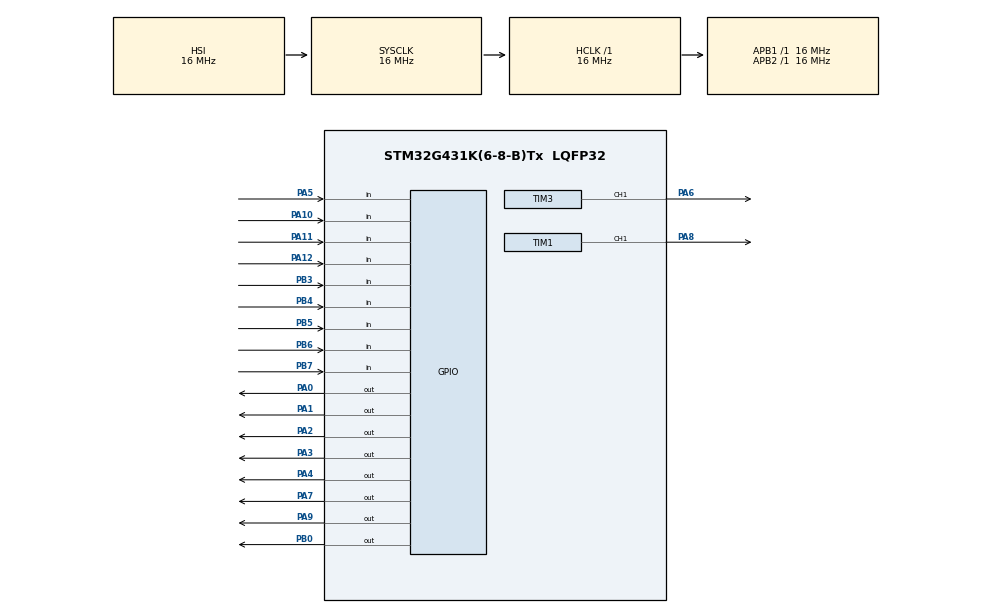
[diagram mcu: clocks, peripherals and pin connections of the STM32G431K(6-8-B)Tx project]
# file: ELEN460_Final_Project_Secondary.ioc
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Mcu.Family=STM32G4
Mcu.Name=STM32G431K(6-8-B)Tx
Mcu.Package=LQFP32
NVIC.PriorityGroup=NVIC_PRIORITYGROUP_4
PA0.GPIO_PuPd=GPIO_PULLDOWN
PA0.Signal=GPIO_Output
PA1.GPIO_PuPd=GPIO_PULLDOWN
PA1.Signal=GPIO_Output
PA10.GPIO_PuPd=GPIO_PULLDOWN
PA10.Signal=GPIO_Input
PA11.GPIO_PuPd=GPIO_NOPULL
PA11.Signal=GPIO_Input
PA12.GPIO_PuPd=GPIO_NOPULL
PA12.Signal=GPIO_Input
PA2.GPIO_PuPd=GPIO_PULLDOWN
PA2.Signal=GPIO_Output
PA3.GPIO_PuPd=GPIO_PULLDOWN
PA3.Signal=GPIO_Output
PA4.GPIO_PuPd=GPIO_PULLDOWN
PA4.Signal=GPIO_Output
PA5.GPIO_PuPd=GPIO_PULLUP
PA5.Signal=GPIO_Input
PA6.Signal=S_TIM3_CH1
PA7.GPIO_PuPd=GPIO_PULLDOWN
PA7.Signal=GPIO_Output
PA8.Signal=S_TIM1_CH1
PA9.GPIO_PuPd=GPIO_PULLDOWN
PA9.Signal=GPIO_Output
PB0.GPIO_PuPd=GPIO_PULLDOWN
PB0.Signal=GPIO_Output
PB3.GPIO_PuPd=GPIO_PULLUP
PB3.Signal=GPIO_Input
PB4.GPIO_PuPd=GPIO_NOPULL
PB4.Signal=GPIO_Input
PB5.GPIO_PuPd=GPIO_NOPULL
PB5.Signal=GPIO_Input
PB6.GPIO_PuPd=GPIO_NOPULL
PB6.Signal=GPIO_Input
PB7.GPIO_PuPd=GPIO_NOPULL
PB7.Signal=GPIO_Input
ProjectManager.HeapSize=0x200
ProjectManager.StackSize=0x400
ProjectManager.TargetToolchain=EWARM V8.32
RCC.AHBFreq_Value=16000000
RCC.APB1Freq_Value=16000000
RCC.APB1TimFreq_Value=16000000
RCC.APB2Freq_Value=16000000
RCC.APB2TimFreq_Value=16000000
RCC.CortexFreq_Value=16000000
RCC.EXTERNAL_CLOCK_VALUE=12288000
RCC.HCLKFreq_Value=16000000
RCC.HSE_VALUE=8000000
RCC.HSI48_VALUE=48000000
RCC.HSI_VALUE=16000000
RCC.LSE_VALUE=32768
RCC.SYSCLKFreq_VALUE=16000000
RCC.USBFreq_Value=64000000
RCC.VCOOutputFreq_Value=128000000
SH.S_TIM1_CH1.0=TIM1_CH1,PWM Generation1 CH1
SH.S_TIM3_CH1.0=TIM3_CH1,PWM Generation1 CH1
TIM1.Channel-PWM\ Generation1\ CH1=TIM_CHANNEL_1
TIM1.PeriodNoDither=10000
TIM3.Channel-PWM\ Generation1\ CH1=TIM_CHANNEL_1
TIM3.PeriodNoDither=10000
VP_SYS_VS_DBSignals.Mode=DisableDeadBatterySignals
board=custom

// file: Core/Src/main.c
/* USER CODE BEGIN Header */
/**
  ******************************************************************************
  * @file           : main.c
  * @brief          : Main program body
  ******************************************************************************
  * @attention
  *
  * <h2><center>&copy; Copyright (c) 2021 STMicroelectronics.
  * All rights reserved.</center></h2>
  *
  * This software component is licensed by ST under BSD 3-Clause license,
  * the "License"; You may not use this file except in compliance with the
  * License. You may obtain a copy of the License at:
  *                        opensource.org/licenses/BSD-3-Clause
  *
  ******************************************************************************
  */
/* USER CODE END Header */
#include "main.h"

/* USER CODE BEGIN Includes */
#include "KeyboardHoldRepeat.h"
/* USER CODE END Includes */

/* USER CODE BEGIN PD */
#define GOAL_1_PIN              GPIOA, GPIO_PIN_11
#define GOAL_2_PIN              GPIOA, GPIO_PIN_12
#define GOAL_3_PIN              GPIOB, GPIO_PIN_4
#define GOAL_4_PIN              GPIOB, GPIO_PIN_5
#define GOAL_5_PIN              GPIOB, GPIO_PIN_6
#define GOAL_6_PIN              GPIOB, GPIO_PIN_7

#define LED_1_PIN               GPIOA, GPIO_PIN_0
#define LED_2_PIN               GPIOA, GPIO_PIN_1
#define LED_3_PIN               GPIOA, GPIO_PIN_2
#define LED_4_PIN               GPIOA, GPIO_PIN_3
#define LED_5_PIN               GPIOA, GPIO_PIN_4
#define LED_6_PIN               GPIOA, GPIO_PIN_7

#define RESET_PIN               GPIOA, GPIO_PIN_13
#define WIN_PIN                 GPIOB, GPIO_PIN_0
#define ALL_BALLS_PIN           GPIOA, GPIO_PIN_9

#define NUMBER_OF_BALLS         8

#define MOTOR_STOP              0
#define MOTOR_RIGHT             1
#define MOTOR_LEFT              2
#define MOTOR_SPEED             5000
/* USER CODE END PD */

TIM_HandleTypeDef htim1;
TIM_HandleTypeDef htim3;

/* USER CODE BEGIN PV */
uint8_t keyCode = NO_KEY_PRESSED;
uint8_t buttonPressed = false;
uint8_t goals = 0;
uint8_t leds = 0;
uint8_t reset = 0;
uint8_t ballCount = 0;
uint8_t lastValue = 0;
uint8_t count = 0;

// Motor
uint8_t motorState = MOTOR_STOP;
uint8_t motorRightRequest = false;
uint8_t motorLeftRequest = false;
uint8_t limitSwitch = false;
/* USER CODE END PV */

void SystemClock_Config(void);
static void MX_GPIO_Init(void);
static void MX_TIM1_Init(void);
static void MX_TIM3_Init(void);
/* USER CODE BEGIN PFP */
void LED_Process(uint8_t mask);
void Motor_Set_State(uint8_t state);
void Motor_Set_AIN1(uint16_t duty);
void Motor_Set_AIN2(uint16_t duty);
/* USER CODE END PFP */

/* USER CODE BEGIN 0 */
extern uint8_t ten_mS_Flag;
extern uint8_t twentyfive_mS_Flag;
extern uint8_t hundred_mS_Flag;
extern uint8_t twohundred_fifty_mS_Flag;
extern uint8_t five_hundred_mS_Flag;
extern uint8_t one_S_Flag;
/* USER CODE END 0 */

int main(void)
{

  /* MCU Configuration--------------------------------------------------------*/

  /* Reset of all peripherals, Initializes the Flash interface and the Systick. */
  HAL_Init();

  /* Configure the system clock */
  SystemClock_Config();

  /* Initialize all configured peripherals */
  MX_GPIO_Init();
  MX_TIM1_Init();
  MX_TIM3_Init();
  /* USER CODE BEGIN 2 */
  HAL_TIM_PWM_Start_IT(&htim3, TIM_CHANNEL_1);
  HAL_TIM_PWM_Start_IT(&htim1, TIM_CHANNEL_1);
  /* USER CODE END 2 */

  /* Infinite loop */
  /* USER CODE BEGIN WHILE */
  while (1)
  {

    // 25mS Tasks
    if (twentyfive_mS_Flag) {
      twentyfive_mS_Flag = false;

      keyCode = ScanKeyboard();
      DebounceKeyCode(keyCode);

      // If we've gotten a valid debounced keyCode, process it
      if (processKeyCode == true) {
        ProcessKeyCode(keyCode);
      }

      if(motorRightRequest) {
        Motor_Set_State(MOTOR_RIGHT);
      }
      else if(motorLeftRequest) {
        Motor_Set_State(MOTOR_LEFT);
      }
      else {Motor_Set_State(MOTOR_STOP);}

    }

    reset = HAL_GPIO_ReadPin(RESET_PIN);
    if(reset) {
      leds = 0;
      goals = 0;
      lastValue = 0;
      ballCount = 0;
      HAL_GPIO_WritePin(WIN_PIN, GPIO_PIN_RESET);
      HAL_GPIO_WritePin(ALL_BALLS_PIN, GPIO_PIN_RESET);
    }
    else {
      goals = (HAL_GPIO_ReadPin(GOAL_6_PIN) << 5) | (HAL_GPIO_ReadPin(GOAL_5_PIN) << 4) | (HAL_GPIO_ReadPin(GOAL_4_PIN) << 3) | (HAL_GPIO_ReadPin(GOAL_3_PIN) << 2) | (HAL_GPIO_ReadPin(GOAL_2_PIN) << 1) | (HAL_GPIO_ReadPin(GOAL_1_PIN) << 0);
    }

    leds |= goals;
    LED_Process(leds);

    // Increment ball counter when ball passes through goal
    if(goals) {
      if(goals != lastValue) {
        ballCount++;
        lastValue = goals;
      }
    }
    if(ballCount >= NUMBER_OF_BALLS) {
      HAL_GPIO_WritePin(ALL_BALLS_PIN, GPIO_PIN_SET);
    }

    // Check if player won
    if(leds == 0x3F) {
      HAL_GPIO_WritePin(WIN_PIN, GPIO_PIN_SET);
    }

    /* USER CODE END WHILE */

  }
}

void SystemClock_Config(void)
{
  RCC_OscInitTypeDef RCC_OscInitStruct = {0};
  RCC_ClkInitTypeDef RCC_ClkInitStruct = {0};

  /** Configure the main internal regulator output voltage
  */
  HAL_PWREx_ControlVoltageScaling(PWR_REGULATOR_VOLTAGE_SCALE1);
  /** Initializes the RCC Oscillators according to the specified parameters
  * in the RCC_OscInitTypeDef structure.
  */
  RCC_OscInitStruct.OscillatorType = RCC_OSCILLATORTYPE_HSI;
  RCC_OscInitStruct.HSIState = RCC_HSI_ON;
  RCC_OscInitStruct.HSICalibrationValue = RCC_HSICALIBRATION_DEFAULT;
  RCC_OscInitStruct.PLL.PLLState = RCC_PLL_NONE;
  if (HAL_RCC_OscConfig(&RCC_OscInitStruct) != HAL_OK)
  {
    Error_Handler();
  }
  /** Initializes the CPU, AHB and APB buses clocks
  */
  RCC_ClkInitStruct.ClockType = RCC_CLOCKTYPE_HCLK|RCC_CLOCKTYPE_SYSCLK
                              |RCC_CLOCKTYPE_PCLK1|RCC_CLOCKTYPE_PCLK2;
  RCC_ClkInitStruct.SYSCLKSource = RCC_SYSCLKSOURCE_HSI;
  RCC_ClkInitStruct.AHBCLKDivider = RCC_SYSCLK_DIV1;
  RCC_ClkInitStruct.APB1CLKDivider = RCC_HCLK_DIV1;
  RCC_ClkInitStruct.APB2CLKDivider = RCC_HCLK_DIV1;

  if (HAL_RCC_ClockConfig(&RCC_ClkInitStruct, FLASH_LATENCY_0) != HAL_OK)
  {
    Error_Handler();
  }
}

static void MX_TIM1_Init(void)
{

  TIM_MasterConfigTypeDef sMasterConfig = {0};
  TIM_OC_InitTypeDef sConfigOC = {0};
  TIM_BreakDeadTimeConfigTypeDef sBreakDeadTimeConfig = {0};

  htim1.Instance = TIM1;
  htim1.Init.Prescaler = 0;
  htim1.Init.CounterMode = TIM_COUNTERMODE_UP;
  htim1.Init.Period = 10000;
  htim1.Init.ClockDivision = TIM_CLOCKDIVISION_DIV1;
  htim1.Init.RepetitionCounter = 0;
  htim1.Init.AutoReloadPreload = TIM_AUTORELOAD_PRELOAD_DISABLE;
  if (HAL_TIM_PWM_Init(&htim1) != HAL_OK)
  {
    Error_Handler();
  }
  sMasterConfig.MasterOutputTrigger = TIM_TRGO_RESET;
  sMasterConfig.MasterOutputTrigger2 = TIM_TRGO2_RESET;
  sMasterConfig.MasterSlaveMode = TIM_MASTERSLAVEMODE_DISABLE;
  if (HAL_TIMEx_MasterConfigSynchronization(&htim1, &sMasterConfig) != HAL_OK)
  {
    Error_Handler();
  }
  sConfigOC.OCMode = TIM_OCMODE_PWM1;
  sConfigOC.Pulse = 0;
  sConfigOC.OCPolarity = TIM_OCPOLARITY_HIGH;
  sConfigOC.OCNPolarity = TIM_OCNPOLARITY_HIGH;
  sConfigOC.OCFastMode = TIM_OCFAST_DISABLE;
  sConfigOC.OCIdleState = TIM_OCIDLESTATE_RESET;
  sConfigOC.OCNIdleState = TIM_OCNIDLESTATE_RESET;
  if (HAL_TIM_PWM_ConfigChannel(&htim1, &sConfigOC, TIM_CHANNEL_1) != HAL_OK)
  {
    Error_Handler();
  }
  sBreakDeadTimeConfig.OffStateRunMode = TIM_OSSR_DISABLE;
  sBreakDeadTimeConfig.OffStateIDLEMode = TIM_OSSI_DISABLE;
  sBreakDeadTimeConfig.LockLevel = TIM_LOCKLEVEL_OFF;
  sBreakDeadTimeConfig.DeadTime = 0;
  sBreakDeadTimeConfig.BreakState = TIM_BREAK_DISABLE;
  sBreakDeadTimeConfig.BreakPolarity = TIM_BREAKPOLARITY_HIGH;
  sBreakDeadTimeConfig.BreakFilter = 0;
  sBreakDeadTimeConfig.BreakAFMode = TIM_BREAK_AFMODE_INPUT;
  sBreakDeadTimeConfig.Break2State = TIM_BREAK2_DISABLE;
  sBreakDeadTimeConfig.Break2Polarity = TIM_BREAK2POLARITY_HIGH;
  sBreakDeadTimeConfig.Break2Filter = 0;
  sBreakDeadTimeConfig.Break2AFMode = TIM_BREAK_AFMODE_INPUT;
  sBreakDeadTimeConfig.AutomaticOutput = TIM_AUTOMATICOUTPUT_DISABLE;
  if (HAL_TIMEx_ConfigBreakDeadTime(&htim1, &sBreakDeadTimeConfig) != HAL_OK)
  {
    Error_Handler();
  }
  HAL_TIM_MspPostInit(&htim1);

}

static void MX_TIM3_Init(void)
{

  TIM_MasterConfigTypeDef sMasterConfig = {0};
  TIM_OC_InitTypeDef sConfigOC = {0};

  htim3.Instance = TIM3;
  htim3.Init.Prescaler = 0;
  htim3.Init.CounterMode = TIM_COUNTERMODE_UP;
  htim3.Init.Period = 10000;
  htim3.Init.ClockDivision = TIM_CLOCKDIVISION_DIV1;
  htim3.Init.AutoReloadPreload = TIM_AUTORELOAD_PRELOAD_DISABLE;
  if (HAL_TIM_PWM_Init(&htim3) != HAL_OK)
  {
    Error_Handler();
  }
  sMasterConfig.MasterOutputTrigger = TIM_TRGO_RESET;
  sMasterConfig.MasterSlaveMode = TIM_MASTERSLAVEMODE_DISABLE;
  if (HAL_TIMEx_MasterConfigSynchronization(&htim3, &sMasterConfig) != HAL_OK)
  {
    Error_Handler();
  }
  sConfigOC.OCMode = TIM_OCMODE_PWM1;
  sConfigOC.Pulse = 0;
  sConfigOC.OCPolarity = TIM_OCPOLARITY_HIGH;
  sConfigOC.OCFastMode = TIM_OCFAST_DISABLE;
  if (HAL_TIM_PWM_ConfigChannel(&htim3, &sConfigOC, TIM_CHANNEL_1) != HAL_OK)
  {
    Error_Handler();
  }
  HAL_TIM_MspPostInit(&htim3);

}

static void MX_GPIO_Init(void)
{
  GPIO_InitTypeDef GPIO_InitStruct = {0};

  /* GPIO Ports Clock Enable */
  __HAL_RCC_GPIOA_CLK_ENABLE();
  __HAL_RCC_GPIOB_CLK_ENABLE();

  /*Configure GPIO pin Output Level */
  HAL_GPIO_WritePin(GPIOA, GPIO_PIN_0|GPIO_PIN_1|GPIO_PIN_2|GPIO_PIN_3
                          |GPIO_PIN_4|GPIO_PIN_7|GPIO_PIN_9, GPIO_PIN_RESET);

  /*Configure GPIO pin Output Level */
  HAL_GPIO_WritePin(GPIOB, GPIO_PIN_0, GPIO_PIN_RESET);

  /*Configure GPIO pins : PA0 PA1 PA2 PA3
                           PA4 PA7 PA9 */
  GPIO_InitStruct.Pin = GPIO_PIN_0|GPIO_PIN_1|GPIO_PIN_2|GPIO_PIN_3
                          |GPIO_PIN_4|GPIO_PIN_7|GPIO_PIN_9;
  GPIO_InitStruct.Mode = GPIO_MODE_OUTPUT_PP;
  GPIO_InitStruct.Pull = GPIO_PULLDOWN;
  GPIO_InitStruct.Speed = GPIO_SPEED_FREQ_LOW;
  HAL_GPIO_Init(GPIOA, &GPIO_InitStruct);

  /*Configure GPIO pin : PA5 */
  GPIO_InitStruct.Pin = GPIO_PIN_5;
  GPIO_InitStruct.Mode = GPIO_MODE_INPUT;
  GPIO_InitStruct.Pull = GPIO_PULLUP;
  HAL_GPIO_Init(GPIOA, &GPIO_InitStruct);

  /*Configure GPIO pin : PB0 */
  GPIO_InitStruct.Pin = GPIO_PIN_0;
  GPIO_InitStruct.Mode = GPIO_MODE_OUTPUT_PP;
  GPIO_InitStruct.Pull = GPIO_PULLDOWN;
  GPIO_InitStruct.Speed = GPIO_SPEED_FREQ_LOW;
  HAL_GPIO_Init(GPIOB, &GPIO_InitStruct);

  /*Configure GPIO pin : PA10 */
  GPIO_InitStruct.Pin = GPIO_PIN_10;
  GPIO_InitStruct.Mode = GPIO_MODE_INPUT;
  GPIO_InitStruct.Pull = GPIO_PULLDOWN;
  HAL_GPIO_Init(GPIOA, &GPIO_InitStruct);

  /*Configure GPIO pins : PA11 PA12 */
  GPIO_InitStruct.Pin = GPIO_PIN_11|GPIO_PIN_12;
  GPIO_InitStruct.Mode = GPIO_MODE_INPUT;
  GPIO_InitStruct.Pull = GPIO_NOPULL;
  HAL_GPIO_Init(GPIOA, &GPIO_InitStruct);

  /*Configure GPIO pin : PB3 */
  GPIO_InitStruct.Pin = GPIO_PIN_3;
  GPIO_InitStruct.Mode = GPIO_MODE_INPUT;
  GPIO_InitStruct.Pull = GPIO_PULLUP;
  HAL_GPIO_Init(GPIOB, &GPIO_InitStruct);

  /*Configure GPIO pins : PB4 PB5 PB6 PB7 */
  GPIO_InitStruct.Pin = GPIO_PIN_4|GPIO_PIN_5|GPIO_PIN_6|GPIO_PIN_7;
  GPIO_InitStruct.Mode = GPIO_MODE_INPUT;
  GPIO_InitStruct.Pull = GPIO_NOPULL;
  HAL_GPIO_Init(GPIOB, &GPIO_InitStruct);

}

/* USER CODE BEGIN 4 */
void LED_Process(uint8_t mask) {

  // Goal LED 1
  if((mask >> 0) & 0x1) {HAL_GPIO_WritePin(LED_1_PIN, GPIO_PIN_SET);}
  else {HAL_GPIO_WritePin(LED_1_PIN, GPIO_PIN_RESET);}

  // Goal LED 2
  if((mask >> 1) & 0x1) {HAL_GPIO_WritePin(LED_2_PIN, GPIO_PIN_SET);}
  else {HAL_GPIO_WritePin(LED_2_PIN, GPIO_PIN_RESET);}

  // Goal LED 3
  if((mask >> 2) & 0x1) {HAL_GPIO_WritePin(LED_3_PIN, GPIO_PIN_SET);}
  else {HAL_GPIO_WritePin(LED_3_PIN, GPIO_PIN_RESET);}

  // Goal LED 4
  if((mask >> 3) & 0x1) {HAL_GPIO_WritePin(LED_4_PIN, GPIO_PIN_SET);}
  else {HAL_GPIO_WritePin(LED_4_PIN, GPIO_PIN_RESET);}

  // Goal LED 5
  if((mask >> 4) & 0x1) {HAL_GPIO_WritePin(LED_5_PIN, GPIO_PIN_SET);}
  else {HAL_GPIO_WritePin(LED_5_PIN, GPIO_PIN_RESET);}

  // Goal LED 6
  if((mask >> 5) & 0x1) {HAL_GPIO_WritePin(LED_6_PIN, GPIO_PIN_SET);}
  else {HAL_GPIO_WritePin(LED_6_PIN, GPIO_PIN_RESET);}
}

void Motor_Set_State(uint8_t state) {

  switch(state){
  case MOTOR_STOP:
    // Set AIN1 and AIN2 to full duty to brake the motor
    Motor_Set_AIN1(0);
    Motor_Set_AIN2(0);
    break;
  case MOTOR_RIGHT:
    Motor_Set_AIN1(MOTOR_SPEED);
    Motor_Set_AIN2(0);
    break;
  case MOTOR_LEFT:
    Motor_Set_AIN1(0);
    Motor_Set_AIN2(MOTOR_SPEED);
    break;
  }
}

void Motor_Set_AIN1(uint16_t duty) {
  TIM_OC_InitTypeDef sConfigOC = {0};

  sConfigOC.OCMode = TIM_OCMODE_PWM1;
  sConfigOC.Pulse = duty;
  sConfigOC.OCPolarity = TIM_OCPOLARITY_HIGH;
  sConfigOC.OCNPolarity = TIM_OCNPOLARITY_HIGH;
  sConfigOC.OCFastMode = TIM_OCFAST_DISABLE;
  sConfigOC.OCIdleState = TIM_OCIDLESTATE_RESET;
  sConfigOC.OCNIdleState = TIM_OCNIDLESTATE_RESET;

  HAL_TIM_PWM_Stop(&htim1, TIM_CHANNEL_1);
  HAL_TIM_PWM_ConfigChannel(&htim1, &sConfigOC, TIM_CHANNEL_1);
  HAL_TIM_PWM_Start(&htim1, TIM_CHANNEL_1);

}

void Motor_Set_AIN2(uint16_t duty) {
  TIM_OC_InitTypeDef sConfigOC = {0};

  sConfigOC.OCMode = TIM_OCMODE_PWM1;
  sConfigOC.Pulse = duty;
  sConfigOC.OCPolarity = TIM_OCPOLARITY_HIGH;
  sConfigOC.OCNPolarity = TIM_OCNPOLARITY_HIGH;
  sConfigOC.OCFastMode = TIM_OCFAST_DISABLE;
  sConfigOC.OCIdleState = TIM_OCIDLESTATE_RESET;
  sConfigOC.OCNIdleState = TIM_OCNIDLESTATE_RESET;

  HAL_TIM_PWM_Stop(&htim3, TIM_CHANNEL_1);
  HAL_TIM_PWM_ConfigChannel(&htim3, &sConfigOC, TIM_CHANNEL_1);
  HAL_TIM_PWM_Start(&htim3, TIM_CHANNEL_1);

}
/* USER CODE END 4 */

void Error_Handler(void)
{
  __disable_irq();
  while (1)
  {
  }
}

/************************ (C) COPYRIGHT STMicroelectronics *****END OF FILE****/
